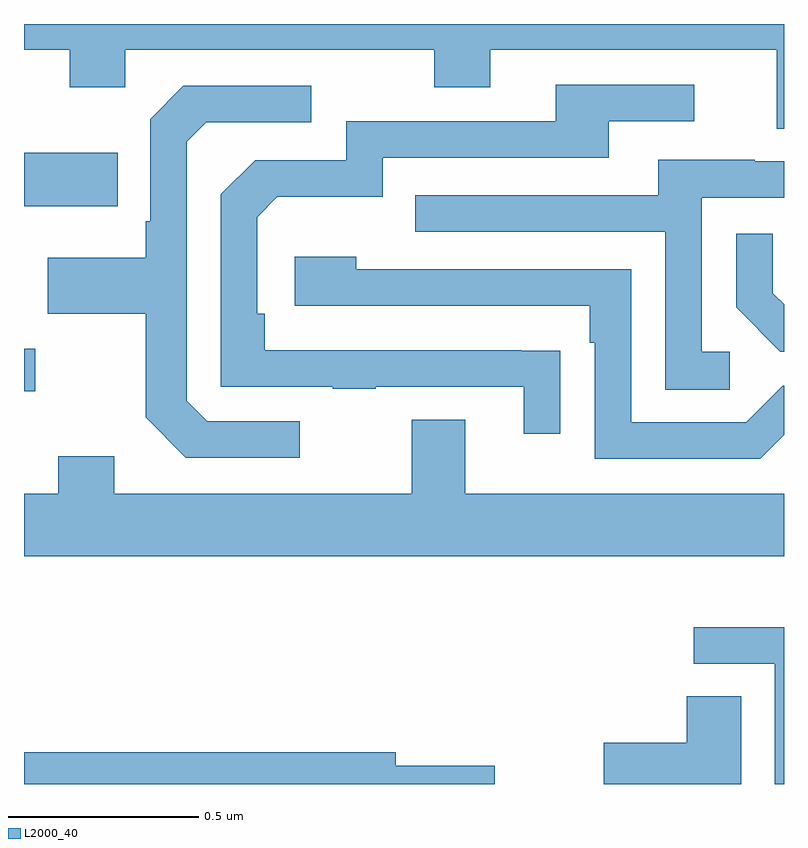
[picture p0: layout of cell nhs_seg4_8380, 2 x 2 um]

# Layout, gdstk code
import gdstk
lib = gdstk.Library(unit=1e-6, precision=1e-09)
def R(c, l, rs):  # rectangles x0, y0, x1, y1
    for r in rs: c.add(gdstk.rectangle(r[:2], r[2:], *l))
def P(c, l, *ps):  # polygons
    for p in ps: c.add(gdstk.Polygon(p, *l))
L2000_40 = (2000, 40)

nhs_seg4_8380 = lib.new_cell('nhs_seg4_8380')
R(nhs_seg4_8380, L2000_40, [(214,783.933,214.03,784.046), (214,784.421,214.247,784.561)])
P(nhs_seg4_8380, L2000_40, [(216,784.9),(214,784.9),(214,784.832),(214.12,784.832),(214.12,784.733),(214.266,784.733),(214.266,784.832),(215.08,784.832),(215.08,784.733),(215.227,784.733),(215.227,784.832),(215.981,784.832),(215.981,784.624),(216,784.624)],
  [(215.411,784.04),(215.309,784.04),(215.309,784.041),(214.634,784.041),(214.634,784.138),(214.614,784.138),(214.614,784.392),(214.667,784.445),(214.944,784.445),(214.944,784.548),(215.539,784.548),(215.539,784.644),(215.764,784.644),(215.764,784.74),(215.399,784.74),(215.399,784.644),(214.848,784.644),(214.848,784.542),(214.608,784.542),(214.518,784.452),(214.518,783.945),(214.813,783.945),(214.813,783.94),(214.925,783.94),(214.925,783.945),(215.315,783.945),(215.315,783.822),(215.411,783.822)],
  [(214.726,783.855),(214.482,783.855),(214.428,783.909),(214.428,784.59),(214.479,784.641),(214.756,784.641),(214.756,784.737),(214.419,784.737),(214.332,784.65),(214.332,784.381),(214.32,784.381),(214.32,784.285),(214.063,784.285),(214.063,784.138),(214.32,784.138),(214.32,783.865),(214.425,783.759),(214.726,783.759)],
  [(215.857,784.038),(215.784,784.038),(215.784,784.443),(216,784.443),(216,784.539),(215.923,784.539),(215.923,784.543),(215.669,784.543),(215.669,784.449),(215.029,784.449),(215.029,784.353),(215.688,784.353),(215.688,783.937),(215.857,783.937)],
  [(216,784.162),(215.971,784.191),(215.971,784.348),(215.874,784.348),(215.874,784.154),(215.99,784.038),(216,784.038)],
  [(216,783.819),(216,783.948),(215.997,783.948),(215.901,783.852),(215.598,783.852),(215.598,784.254),(214.874,784.254),(214.874,784.288),(214.713,784.288),(214.713,784.158),(215.489,784.158),(215.489,784.061),(215.502,784.061),(215.502,783.756),(215.937,783.756)],
  [(216,783.664),(215.161,783.664),(215.161,783.859),(215.021,783.859),(215.021,783.664),(214.237,783.664),(214.237,783.763),(214.09,783.763),(214.09,783.664),(214,783.664),(214,783.5),(216,783.5)],
  [(216,783.312),(215.763,783.312),(215.763,783.216),(215.976,783.216),(215.976,782.9),(216,782.9)],
  [(215.887,783.131),(215.744,783.131),(215.744,783.008),(215.526,783.008),(215.526,782.9),(215.887,782.9)],
  [(215.239,782.948),(214.978,782.948),(214.978,782.984),(214,782.984),(214,782.9),(215.239,782.9)])

lib.write_gds('nhs_seg4_8380.gds')
